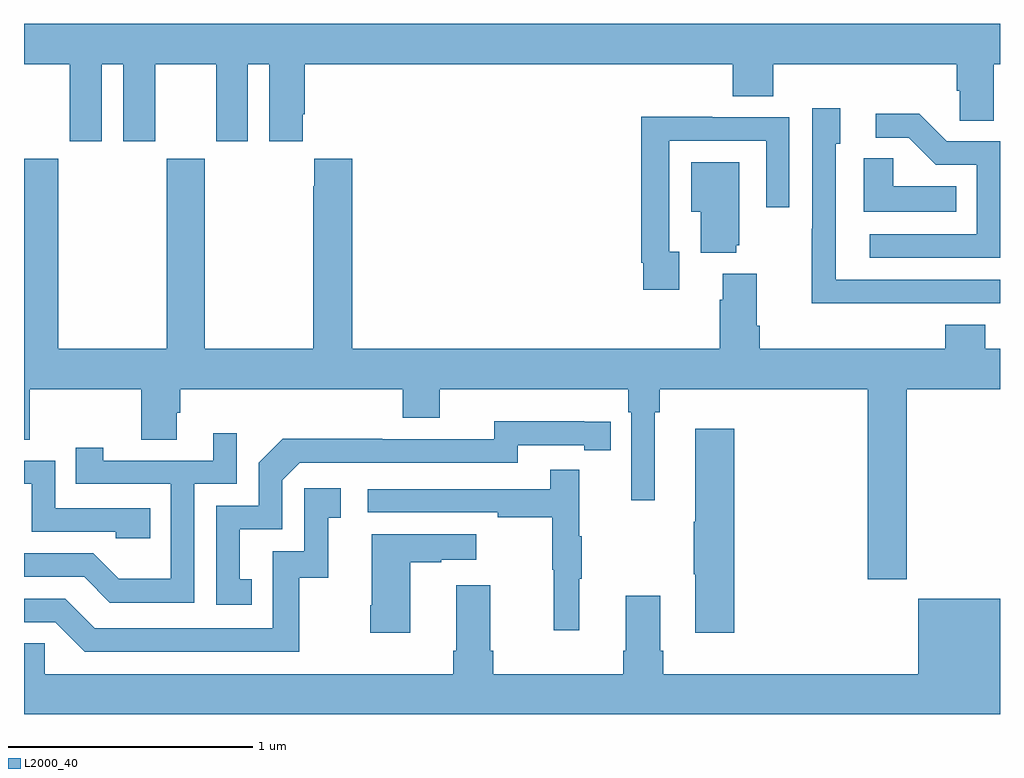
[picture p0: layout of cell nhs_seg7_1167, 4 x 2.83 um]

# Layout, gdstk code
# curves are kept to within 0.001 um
import gdstk
lib = gdstk.Library(unit=1e-6, precision=1e-09)
def P(c, l, *ps):  # polygons
    for p in ps: c.add(gdstk.Polygon(p, *l))
L2000_40 = (2000, 40)

nhs_seg7_1167 = lib.new_cell('nhs_seg7_1167')
P(nhs_seg7_1167, L2000_40, [(193.318,1011.272),(193.406,1011.272),(193.406,1010.955),(193.537,1010.955),(193.537,1011.272),(193.787,1011.272),(193.787,1010.955),(193.918,1010.955),(193.918,1011.272),(194.006,1011.272),(194.006,1010.955),(194.143,1010.955),(194.143,1011.067),(194.15,1011.067),(194.15,1011.272),(195.905,1011.272),(195.905,1011.139),(196.07,1011.139),(196.07,1011.272),(196.823,1011.272),(196.823,1011.163),(196.836,1011.163),(196.836,1011.04),(196.975,1011.04),(196.975,1011.272),(197,1011.272),(197,1011.436),(193,1011.436),(193,1011.272),(193.187,1011.272),(193.187,1010.955),(193.318,1010.955)],
  [(196.691,1010.292),(197,1010.292),(197,1010.388),(196.326,1010.388),(196.326,1010.946),(196.345,1010.946),(196.345,1011.091),(196.23,1011.091),(196.23,1010.597),(196.228,1010.597),(196.228,1010.291),(196.691,1010.291)],
  [(197,1010.955),(196.782,1010.955),(196.669,1011.068),(196.491,1011.068),(196.491,1010.97),(196.625,1010.97),(196.736,1010.859),(196.905,1010.859),(196.905,1010.574),(196.467,1010.574),(196.467,1010.478),(197,1010.478)],
  [(195.685,1010.502),(195.645,1010.502),(195.645,1010.958),(196.041,1010.958),(196.041,1010.685),(196.137,1010.685),(196.137,1011.054),(195.821,1011.054),(195.821,1011.056),(195.529,1011.056),(195.529,1010.458),(195.537,1010.458),(195.537,1010.346),(195.685,1010.346)],
  [(196.82,1010.77),(196.563,1010.77),(196.563,1010.885),(196.442,1010.885),(196.442,1010.666),(196.82,1010.666)],
  [(196.016,1010.2),(196.003,1010.2),(196.003,1010.413),(195.863,1010.413),(195.863,1010.306),(195.851,1010.306),(195.851,1010.104),(194.345,1010.104),(194.345,1010.884),(194.189,1010.884),(194.189,1010.771),(194.185,1010.771),(194.185,1010.104),(193.74,1010.104),(193.74,1010.884),(193.585,1010.884),(193.585,1010.104),(193.14,1010.104),(193.14,1010.884),(193,1010.884),(193,1009.732),(193.023,1009.732),(193.023,1009.94),(193.48,1009.94),(193.48,1009.732),(193.627,1009.732),(193.627,1009.842),(193.64,1009.842),(193.64,1009.94),(194.552,1009.94),(194.552,1009.823),(194.704,1009.823),(194.704,1009.94),(195.476,1009.94),(195.476,1009.844),(195.489,1009.844),(195.489,1009.485),(195.586,1009.485),(195.586,1009.844),(195.605,1009.844),(195.605,1009.94),(196.457,1009.94),(196.457,1009.161),(196.617,1009.161),(196.617,1009.94),(197,1009.94),(197,1010.104),(196.94,1010.104),(196.94,1010.203),(196.775,1010.203),(196.775,1010.104),(196.016,1010.104)],
  [(195.92,1010.529),(195.931,1010.529),(195.931,1010.869),(195.734,1010.869),(195.734,1010.666),(195.773,1010.666),(195.773,1010.498),(195.92,1010.498)],
  [(193.934,1009.161),(193.885,1009.161),(193.885,1009.365),(194.058,1009.365),(194.058,1009.566),(194.13,1009.638),(195.024,1009.638),(195.024,1009.71),(195.296,1009.71),(195.296,1009.69),(195.404,1009.69),(195.404,1009.806),(194.928,1009.807),(194.928,1009.734),(194.468,1009.734),(194.468,1009.736),(194.06,1009.736),(193.962,1009.638),(193.962,1009.461),(193.788,1009.461),(193.788,1009.056),(193.934,1009.056)],
  [(195.911,1009.777),(195.752,1009.777),(195.752,1009.397),(195.745,1009.397),(195.745,1009.18),(195.752,1009.18),(195.752,1008.942),(195.911,1008.942)],
  [(193.698,1009.551),(193.872,1009.551),(193.872,1009.759),(193.775,1009.759),(193.775,1009.647),(193.324,1009.647),(193.324,1009.699),(193.213,1009.699),(193.213,1009.551),(193.602,1009.551),(193.602,1009.162),(193.388,1009.162),(193.284,1009.266),(193,1009.266),(193,1009.17),(193.247,1009.17),(193.352,1009.065),(193.698,1009.065)],
  [(193.517,1009.452),(193.128,1009.452),(193.128,1009.647),(193,1009.647),(193,1009.551),(193.032,1009.551),(193.032,1009.356),(193.377,1009.356),(193.377,1009.329),(193.517,1009.329)],
  [(195.275,1009.163),(195.286,1009.163),(195.286,1009.337),(195.275,1009.337),(195.275,1009.609),(195.157,1009.609),(195.157,1009.53),(194.409,1009.53),(194.409,1009.434),(194.941,1009.434),(194.941,1009.414),(195.165,1009.414),(195.165,1009.2),(195.172,1009.2),(195.172,1008.951),(195.275,1008.951)],
  [(194.128,1009.167),(194.246,1009.167),(194.246,1009.413),(194.299,1009.413),(194.299,1009.534),(194.148,1009.534),(194.148,1009.275),(194.019,1009.275),(194.019,1008.96),(193.29,1008.96),(193.17,1009.08),(193,1009.08),(193,1008.984),(193.128,1008.984),(193.248,1008.864),(194.128,1008.864)],
  [(194.584,1009.231),(194.711,1009.231),(194.711,1009.241),(194.854,1009.241),(194.854,1009.345),(194.426,1009.345),(194.426,1009.054),(194.419,1009.054),(194.419,1008.942),(194.584,1008.942)],
  [(197,1009.081),(196.664,1009.081),(196.664,1008.772),(195.62,1008.772),(195.62,1008.868),(195.607,1008.868),(195.607,1009.093),(195.467,1009.093),(195.467,1008.868),(195.455,1008.868),(195.455,1008.772),(194.924,1008.772),(194.924,1008.868),(194.911,1008.868),(194.911,1009.135),(194.771,1009.135),(194.771,1008.868),(194.759,1008.868),(194.759,1008.772),(193.086,1008.772),(193.086,1008.899),(193,1008.899),(193,1008.608),(197,1008.608)])

lib.write_gds('nhs_seg7_1167.gds')
